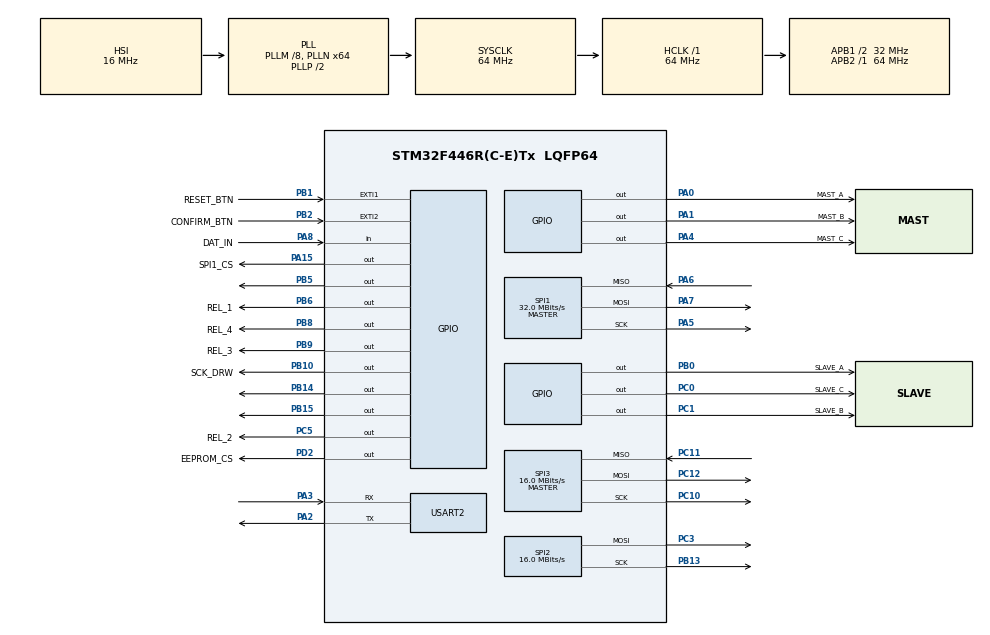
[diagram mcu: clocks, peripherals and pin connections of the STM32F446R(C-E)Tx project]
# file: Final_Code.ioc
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Dma.Request0=SPI2_TX
Dma.SPI2_TX.0.Direction=DMA_MEMORY_TO_PERIPH
Dma.SPI2_TX.0.FIFOMode=DMA_FIFOMODE_DISABLE
Dma.SPI2_TX.0.Instance=DMA1_Stream4
Dma.SPI2_TX.0.MemDataAlignment=DMA_MDATAALIGN_BYTE
Dma.SPI2_TX.0.MemInc=DMA_MINC_ENABLE
Dma.SPI2_TX.0.Mode=DMA_NORMAL
Dma.SPI2_TX.0.PeriphDataAlignment=DMA_PDATAALIGN_BYTE
Dma.SPI2_TX.0.PeriphInc=DMA_PINC_DISABLE
Dma.SPI2_TX.0.Priority=DMA_PRIORITY_LOW
Mcu.Family=STM32F4
Mcu.Name=STM32F446R(C-E)Tx
Mcu.Package=LQFP64
NVIC.DMA1_Stream4_IRQn=true\:0\:0\:false\:false\:true\:false\:true\:true
NVIC.EXTI1_IRQn=true\:0\:0\:false\:false\:true\:true\:true\:true
NVIC.EXTI2_IRQn=true\:0\:0\:false\:false\:true\:true\:true\:true
NVIC.PriorityGroup=NVIC_PRIORITYGROUP_4
NVIC.TIM3_IRQn=true\:0\:0\:false\:false\:true\:true\:true\:true
NVIC.TIM4_IRQn=true\:0\:0\:false\:false\:true\:true\:true\:true
PA0-WKUP.GPIO_Label=MAST_A
PA0-WKUP.Signal=GPIO_Output
PA1.GPIO_Label=MAST_B
PA1.Signal=GPIO_Output
PA13.Mode=Serial_Wire
PA13.Signal=SYS_JTMS-SWDIO
PA14.Mode=Serial_Wire
PA14.Signal=SYS_JTCK-SWCLK
PA15.GPIO_Label=SPI1_CS
PA15.GPIO_PuPd=GPIO_PULLUP
PA15.PinState=GPIO_PIN_SET
PA15.Signal=GPIO_Output
PA2.Mode=Asynchronous
PA2.Signal=USART2_TX
PA3.Mode=Asynchronous
PA3.Signal=USART2_RX
PA4.GPIO_Label=MAST_C
PA4.Signal=GPIO_Output
PA5.Mode=Full_Duplex_Master
PA5.Signal=SPI1_SCK
PA6.Mode=Full_Duplex_Master
PA6.Signal=SPI1_MISO
PA7.Mode=Full_Duplex_Master
PA7.Signal=SPI1_MOSI
PA8.GPIO_Label=DAT_IN
PA8.Signal=GPIO_Input
PB0.GPIO_Label=SLAVE_A
PB0.Signal=GPIO_Output
PB1.GPIO_Label=RESET_BTN
PB1.GPIO_ModeDefaultEXTI=GPIO_MODE_IT_RISING_FALLING
PB1.Signal=GPXTI1
PB10.GPIO_Label=SCK_DRW
PB10.Signal=GPIO_Output
PB13.Mode=TX_Only_Simplex_Unidirect_Master
PB13.Signal=SPI2_SCK
PB14.Signal=GPIO_Output
PB15.Signal=GPIO_Output
PB2.GPIO_Label=CONFIRM_BTN
PB2.GPIO_ModeDefaultEXTI=GPIO_MODE_IT_RISING_FALLING
PB2.Signal=GPXTI2
PB5.Signal=GPIO_Output
PB6.GPIO_Label=REL_1
PB6.Signal=GPIO_Output
PB8.GPIO_Label=REL_4
PB8.Signal=GPIO_Output
PB9.GPIO_Label=REL_3
PB9.Signal=GPIO_Output
PC0.GPIO_Label=SLAVE_C
PC0.Signal=GPIO_Output
PC1.GPIO_Label=SLAVE_B
PC1.Signal=GPIO_Output
PC10.Mode=Full_Duplex_Master
PC10.Signal=SPI3_SCK
PC11.Mode=Full_Duplex_Master
PC11.Signal=SPI3_MISO
PC12.Mode=Full_Duplex_Master
PC12.Signal=SPI3_MOSI
PC3.Mode=TX_Only_Simplex_Unidirect_Master
PC3.Signal=SPI2_MOSI
PC5.GPIO_Label=REL_2
PC5.Signal=GPIO_Output
PD2.GPIO_Label=EEPROM_CS
PD2.Signal=GPIO_Output
PH0-OSC_IN.Mode=HSE-External-Oscillator
PH0-OSC_IN.Signal=RCC_OSC_IN
PH1-OSC_OUT.Mode=HSE-External-Oscillator
PH1-OSC_OUT.Signal=RCC_OSC_OUT
ProjectManager.HeapSize=0x200
ProjectManager.StackSize=0x400
ProjectManager.TargetToolchain=STM32CubeIDE
RCC.AHBFreq_Value=64000000
RCC.APB1CLKDivider=RCC_HCLK_DIV2
RCC.APB1Freq_Value=32000000
RCC.APB1TimFreq_Value=64000000
RCC.APB2Freq_Value=64000000
RCC.APB2TimFreq_Value=64000000
RCC.CortexFreq_Value=64000000
RCC.HCLKFreq_Value=64000000
RCC.PLLM=8
RCC.PLLN=64
RCC.SYSCLKFreq_VALUE=64000000
RCC.SYSCLKSource=RCC_SYSCLKSOURCE_PLLCLK
RCC.USBFreq_Value=64000000
RCC.VCOOutputFreq_Value=128000000
SPI1.CalculateBaudRate=32.0 MBits/s
SPI1.Direction=SPI_DIRECTION_2LINES
SPI1.Mode=SPI_MODE_MASTER
SPI1.VirtualType=VM_MASTER
SPI2.CalculateBaudRate=16.0 MBits/s
SPI2.Direction=SPI_DIRECTION_2LINES
SPI2.Mode=SPI_MODE_MASTER
SPI2.VirtualType=VM_MASTER
SPI3.CalculateBaudRate=16.0 MBits/s
SPI3.Direction=SPI_DIRECTION_2LINES
SPI3.Mode=SPI_MODE_MASTER
SPI3.VirtualType=VM_MASTER
TIM2.Prescaler=7
TIM3.Period=19000 - 1
TIM3.Prescaler=6400 - 1
TIM4.Period=1135 - 1
TIM4.Prescaler=6400 - 1
USART2.VirtualMode=VM_ASYNC
VP_FATFS_VS_Generic.Mode=User_defined
VP_TIM2_VS_ClockSourceINT.Mode=Internal
VP_TIM3_VS_ClockSourceINT.Mode=Internal
VP_TIM4_VS_ClockSourceINT.Mode=Internal
board=custom

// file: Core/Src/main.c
/* USER CODE BEGIN Header */
/**
  ******************************************************************************
  * @file           : main.c
  * @brief          : Main program body
  ******************************************************************************
  * @attention
  *
  * Copyright (c) 2024 STMicroelectronics.
  * All rights reserved.
  *
  * This software is licensed under terms that can be found in the LICENSE file
  * in the root directory of this software component.
  * If no LICENSE file comes with this software, it is provided AS-IS.
  *
  ******************************************************************************
  */
/* USER CODE END Header */
#include "main.h"
#include "dma.h"
#include "fatfs.h"
#include "spi.h"
#include "tim.h"
#include "usart.h"
#include "gpio.h"

/* USER CODE BEGIN Includes */
#include <function_calibration.h>
#include <function_main.h>
#include <manager_mux.h>
#include <manager_weight.h>
#include <stdio.h>
#include "ILI9341_STM32_Driver.h"
#include "ILI9341_GFX.h"
#include "drawer_table.h"

/* USER CODE END Includes */

void SystemClock_Config(void);

/* USER CODE BEGIN 0 */
// change these GPIO to the peripherals and pins we are using for project

int row_num;
int drawer_num;

extern volatile bool reset_requested;
extern volatile uint32_t reset_request_time;

/* USER CODE END 0 */

int main(void)
{

  /* USER CODE BEGIN 1 */

	//disables internal buffering for input stream for scanf
	setvbuf(stdin, NULL, _IONBF, 0);

	/* Configure the system clock */
	SystemClock_Config();

	/* MCU Configuration--------------------------------------------------------*/
	/* Reset of all peripherals, Initializes the Flash interface and the Systick. */
	HAL_Init();

	/* Initialize all configured peripherals */
	MX_GPIO_Init();
	MX_USART2_UART_Init();
	MX_TIM2_Init();
	MX_FATFS_Init();
	MX_SPI1_Init();

	printf("Hello from STM32 UART!\n\r");

	HAL_TIM_Base_Start(&htim2);
	HAL_GPIO_WritePin(SCK_DRW_GPIO_Port, SCK_DRW_Pin, GPIO_PIN_SET);
	HAL_Delay(10);
	HAL_GPIO_WritePin(SCK_DRW_GPIO_Port, SCK_DRW_Pin, GPIO_PIN_RESET);
	HAL_Delay(10);
  /* USER CODE END 1 */

  /* MCU Configuration--------------------------------------------------------*/

  /* Reset of all peripherals, Initializes the Flash interface and the Systick. */
  HAL_Init();

  /* Configure the system clock */
  SystemClock_Config();

  /* Initialize all configured peripherals */
  MX_GPIO_Init();
  MX_DMA_Init();
  MX_TIM2_Init();
  MX_USART2_UART_Init();
  MX_FATFS_Init();
  MX_SPI1_Init();
  MX_SPI2_Init();
  MX_TIM3_Init();
  MX_TIM4_Init();
  MX_SPI3_Init();
  /* USER CODE BEGIN 2 */
  ILI9341_Init();

//  int rectXStart = 80;
//  int rectYStart = 80;

  // Simple Text writing (Text, Font, X, Y, Color, BackColor)
  // Available Fonts are FONT1, FONT2, FONT3 and FONT4
  ILI9341_FillScreen(BLACK);
  ILI9341_SetRotation(SCREEN_HORIZONTAL_2);
  ILI9341_DrawText("Hello from STM32 UART!", FONT4, 55, 110, WHITE, BLACK);
  HAL_Delay(3000);
  ILI9341_FillScreen(BLACK);
  drawer_table();

  /* USER CODE END 2 */

  /* Infinite loop */
  /* USER CODE BEGIN WHILE */

//  while(1){
//  	HAL_GPIO_WritePin(GPIOB, GPIO_PIN_5, 1);
//  	printf("ON");
//  	HAL_Delay(2000);
//
//  	HAL_GPIO_WritePin(GPIOB, GPIO_PIN_5, 0);
//  	printf("OFF");
//  	HAL_Delay(2000);
//
//  }

//  while(1){
//
//  	HAL_GPIO_WritePin(SLAVE_A_GPIO_Port, SLAVE_A_Pin, 1);
//		HAL_GPIO_WritePin(SLAVE_B_GPIO_Port, SLAVE_B_Pin, 1);
//		HAL_GPIO_WritePin(SLAVE_C_GPIO_Port, SLAVE_C_Pin, 1);
//
//		HAL_GPIO_WritePin(MAST_A_GPIO_Port, MAST_A_Pin, 1);
//		HAL_GPIO_WritePin(MAST_B_GPIO_Port, MAST_B_Pin, 1);
//		HAL_GPIO_WritePin(MAST_C_GPIO_Port, MAST_C_Pin, 1);
//
//		HAL_GPIO_WritePin(AUX_SLAVE_A_GPIO_Port, AUX_SLAVE_A_Pin, 1);
//		HAL_GPIO_WritePin(AUX_SLAVE_B_GPIO_Port, AUX_SLAVE_B_Pin, 1);
//		HAL_GPIO_WritePin(AUX_SLAVE_C_GPIO_Port, AUX_SLAVE_C_Pin, 1);
//
//		HAL_GPIO_WritePin(AUX_MAST_A_GPIO_Port, AUX_MAST_A_Pin, 1);
//		HAL_GPIO_WritePin(AUX_MAST_B_GPIO_Port, AUX_MAST_B_Pin, 1);
//		HAL_GPIO_WritePin(AUX_MAST_C_GPIO_Port, AUX_MAST_C_Pin, 1);
//
//		HAL_Delay(1000);
//
//  	HAL_GPIO_WritePin(SLAVE_A_GPIO_Port, SLAVE_A_Pin, 0);
//		HAL_GPIO_WritePin(SLAVE_B_GPIO_Port, SLAVE_B_Pin, 0);
//		HAL_GPIO_WritePin(SLAVE_C_GPIO_Port, SLAVE_C_Pin, 0);
//
//		HAL_GPIO_WritePin(MAST_A_GPIO_Port, MAST_A_Pin, 0);
//		HAL_GPIO_WritePin(MAST_B_GPIO_Port, MAST_B_Pin, 0);
//		HAL_GPIO_WritePin(MAST_C_GPIO_Port, MAST_C_Pin, 0);
//
//		HAL_GPIO_WritePin(AUX_SLAVE_A_GPIO_Port, AUX_SLAVE_A_Pin, 0);
//		HAL_GPIO_WritePin(AUX_SLAVE_B_GPIO_Port, AUX_SLAVE_B_Pin, 0);
//		HAL_GPIO_WritePin(AUX_SLAVE_C_GPIO_Port, AUX_SLAVE_C_Pin, 0);
//
//		HAL_GPIO_WritePin(AUX_MAST_A_GPIO_Port, AUX_MAST_A_Pin, 0);
//		HAL_GPIO_WritePin(AUX_MAST_B_GPIO_Port, AUX_MAST_B_Pin, 0);
//		HAL_GPIO_WritePin(AUX_MAST_C_GPIO_Port, AUX_MAST_C_Pin, 0);
//
//		HAL_Delay(1000);
//
//  }

  Calibrate();
  main_function();

    /* USER CODE END WHILE */

}

void SystemClock_Config(void)
{
  RCC_OscInitTypeDef RCC_OscInitStruct = {0};
  RCC_ClkInitTypeDef RCC_ClkInitStruct = {0};

  /** Configure the main internal regulator output voltage
  */
  __HAL_RCC_PWR_CLK_ENABLE();
  __HAL_PWR_VOLTAGESCALING_CONFIG(PWR_REGULATOR_VOLTAGE_SCALE3);

  /** Initializes the RCC Oscillators according to the specified parameters
  * in the RCC_OscInitTypeDef structure.
  */
  RCC_OscInitStruct.OscillatorType = RCC_OSCILLATORTYPE_HSI;
  RCC_OscInitStruct.HSIState = RCC_HSI_ON;
  RCC_OscInitStruct.HSICalibrationValue = RCC_HSICALIBRATION_DEFAULT;
  RCC_OscInitStruct.PLL.PLLState = RCC_PLL_ON;
  RCC_OscInitStruct.PLL.PLLSource = RCC_PLLSOURCE_HSI;
  RCC_OscInitStruct.PLL.PLLM = 8;
  RCC_OscInitStruct.PLL.PLLN = 64;
  RCC_OscInitStruct.PLL.PLLP = RCC_PLLP_DIV2;
  RCC_OscInitStruct.PLL.PLLQ = 2;
  RCC_OscInitStruct.PLL.PLLR = 2;
  if (HAL_RCC_OscConfig(&RCC_OscInitStruct) != HAL_OK)
  {
    Error_Handler();
  }

  /** Initializes the CPU, AHB and APB buses clocks
  */
  RCC_ClkInitStruct.ClockType = RCC_CLOCKTYPE_HCLK|RCC_CLOCKTYPE_SYSCLK
                              |RCC_CLOCKTYPE_PCLK1|RCC_CLOCKTYPE_PCLK2;
  RCC_ClkInitStruct.SYSCLKSource = RCC_SYSCLKSOURCE_PLLCLK;
  RCC_ClkInitStruct.AHBCLKDivider = RCC_SYSCLK_DIV1;
  RCC_ClkInitStruct.APB1CLKDivider = RCC_HCLK_DIV2;
  RCC_ClkInitStruct.APB2CLKDivider = RCC_HCLK_DIV1;

  if (HAL_RCC_ClockConfig(&RCC_ClkInitStruct, FLASH_LATENCY_2) != HAL_OK)
  {
    Error_Handler();
  }
}

void Error_Handler(void)
{
  __disable_irq();
  while (1)
  {
  }
}
